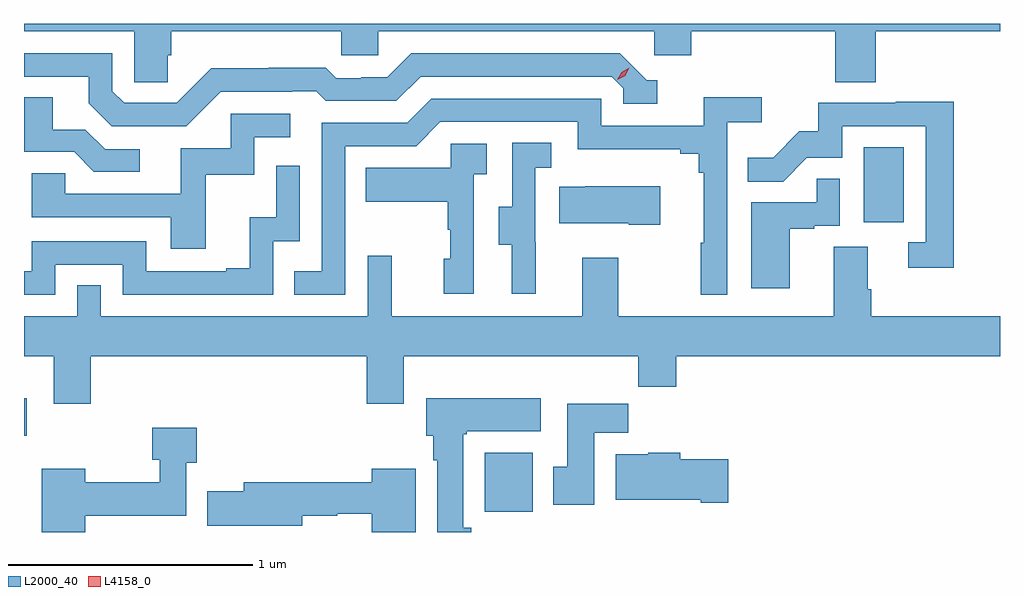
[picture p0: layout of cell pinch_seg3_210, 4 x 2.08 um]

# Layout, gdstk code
import gdstk
lib = gdstk.Library(unit=1e-6, precision=1e-09)
def R(c, l, rs):  # rectangles x0, y0, x1, y1
    for r in rs: c.add(gdstk.rectangle(r[:2], r[2:], *l))
def P(c, l, *ps):  # polygons
    for p in ps: c.add(gdstk.Polygon(p, *l))
L2000_40 = (2000, 40)
L4158_0 = (4158, 0)

pinch_seg3_210 = lib.new_cell('pinch_seg3_210')
R(pinch_seg3_210, L2000_40, [(917.054,746.9,917.251,747.142), (915.166,747.21,915.178,747.364), (918.608,748.086,918.772,748.393)])
P(pinch_seg3_210, L2000_40, [(915.755,748.77),(915.77,748.77),(915.77,748.868),(916.467,748.868),(916.467,748.77),(916.617,748.77),(916.617,748.868),(917.748,748.868),(917.748,748.77),(917.9,748.77),(917.9,748.868),(918.491,748.868),(918.491,748.66),(918.656,748.66),(918.656,748.868),(919.166,748.868),(919.166,748.9),(915.166,748.9),(915.166,748.868),(915.618,748.868),(915.618,748.66),(915.755,748.66)],
  [(915.972,748.62),(916.265,748.62),(916.265,748.623),(916.364,748.623),(916.403,748.584),(916.692,748.584),(916.791,748.683),(917.574,748.683),(917.622,748.635),(917.622,748.572),(917.761,748.572),(917.761,748.668),(917.718,748.668),(917.607,748.779),(916.754,748.779),(916.655,748.68),(916.548,748.68),(916.548,748.677),(916.445,748.677),(916.403,748.72),(916.17,748.72),(916.17,748.717),(915.934,748.717),(915.792,748.575),(915.576,748.575),(915.528,748.623),(915.528,748.779),(915.166,748.779),(915.166,748.683),(915.431,748.683),(915.431,748.573),(915.525,748.479),(915.831,748.479)],
  [(915.64,748.386),(915.498,748.386),(915.418,748.466),(915.283,748.466),(915.283,748.598),(915.166,748.598),(915.166,748.374),(915.371,748.374),(915.452,748.293),(915.64,748.293)],
  [(916.482,748.398),(916.773,748.398),(916.872,748.497),(917.436,748.497),(917.436,748.385),(917.855,748.385),(917.855,748.366),(917.932,748.366),(917.932,748.289),(917.951,748.289),(917.951,748.001),(917.94,748.001),(917.94,747.789),(918.048,747.789),(918.048,748.496),(918.19,748.496),(918.19,748.598),(917.951,748.598),(917.951,748.482),(917.532,748.482),(917.532,748.593),(916.835,748.593),(916.736,748.494),(916.386,748.494),(916.386,747.885),(916.273,747.885),(916.273,747.789),(916.482,747.789)],
  [(918.977,748.58),(918.739,748.58),(918.739,748.575),(918.421,748.575),(918.421,748.458),(918.344,748.458),(918.237,748.351),(918.133,748.351),(918.133,748.252),(918.277,748.252),(918.375,748.35),(918.519,748.35),(918.519,748.479),(918.861,748.479),(918.861,748.005),(918.789,748.005),(918.789,747.9),(918.977,747.9)],
  [(915.911,748.281),(916.11,748.281),(916.11,748.434),(916.258,748.434),(916.258,748.53),(916.014,748.53),(916.014,748.389),(915.809,748.389),(915.809,748.203),(915.335,748.203),(915.335,748.287),(915.198,748.287),(915.198,748.107),(915.767,748.107),(915.767,747.978),(915.911,747.978)],
  [(917.264,748.005),(917.262,748.005),(917.262,748.309),(917.326,748.309),(917.326,748.412),(917.166,748.412),(917.166,748.149),(917.111,748.149),(917.111,747.994),(917.165,747.994),(917.165,747.792),(917.264,747.792)],
  [(917.01,748.283),(917.062,748.283),(917.062,748.407),(916.914,748.407),(916.914,748.309),(916.567,748.309),(916.567,748.169),(916.902,748.169),(916.902,748.055),(916.912,748.055),(916.912,747.936),(916.886,747.936),(916.886,747.792),(917.01,747.792)],
  [(915.294,747.912),(915.57,747.912),(915.57,747.789),(916.188,747.789),(916.188,748.008),(916.296,748.008),(916.296,748.318),(916.2,748.318),(916.2,748.106),(916.091,748.106),(916.091,747.898),(915.995,747.898),(915.995,747.885),(915.666,747.885),(915.666,748.008),(915.198,748.008),(915.198,747.885),(915.166,747.885),(915.166,747.789),(915.294,747.789)],
  [(918.304,748.059),(918.404,748.059),(918.404,748.071),(918.51,748.071),(918.51,748.265),(918.415,748.265),(918.415,748.167),(918.146,748.167),(918.146,747.816),(918.304,747.816)],
  [(917.773,748.234),(917.467,748.234),(917.467,748.231),(917.359,748.231),(917.359,748.082),(917.645,748.082),(917.645,748.075),(917.773,748.075)],
  [(915.44,747.536),(916.571,747.536),(916.571,747.342),(916.723,747.342),(916.723,747.536),(917.683,747.536),(917.683,747.412),(917.84,747.412),(917.84,747.536),(919.166,747.536),(919.166,747.7),(918.638,747.7),(918.638,747.812),(918.625,747.812),(918.625,747.986),(918.485,747.986),(918.485,747.7),(917.601,747.7),(917.601,747.94),(917.453,747.94),(917.453,747.7),(916.673,747.7),(916.673,747.949),(916.575,747.949),(916.575,747.7),(915.48,747.7),(915.48,747.827),(915.384,747.827),(915.384,747.7),(915.166,747.7),(915.166,747.536),(915.287,747.536),(915.287,747.342),(915.44,747.342)],
  [(916.999,746.834),(916.966,746.834),(916.966,747.217),(916.98,747.217),(916.98,747.23),(917.284,747.23),(917.284,747.364),(916.814,747.364),(916.814,747.21),(916.844,747.21),(916.844,747.11),(916.859,747.11),(916.859,746.815),(916.999,746.815)],
  [(917.503,747.224),(917.642,747.224),(917.642,747.343),(917.393,747.343),(917.393,747.084),(917.336,747.084),(917.336,746.928),(917.503,746.928)],
  [(915.418,746.884),(915.831,746.884),(915.831,747.101),(915.875,747.101),(915.875,747.243),(915.692,747.243),(915.692,747.113),(915.723,747.113),(915.723,747.02),(915.418,747.02),(915.418,747.076),(915.239,747.076),(915.239,746.815),(915.418,746.815)],
  [(918.052,747.114),(917.855,747.114),(917.855,747.142),(917.724,747.142),(917.724,747.136),(917.591,747.136),(917.591,746.948),(917.939,746.948),(917.939,746.936),(918.052,746.936)],
  [(916.771,747.076),(916.592,747.076),(916.592,747.02),(916.067,747.02),(916.067,746.984),(915.918,746.984),(915.918,746.842),(916.306,746.842),(916.306,746.884),(916.449,746.884),(916.449,746.892),(916.592,746.892),(916.592,746.815),(916.771,746.815)])
P(pinch_seg3_210, L4158_0, [(917.598,748.669),(917.598,748.669),(917.615,748.701),(917.646,748.72),(917.646,748.72),(917.646,748.72),(917.63,748.687),(917.598,748.669)])

lib.write_gds('pinch_seg3_210.gds')
